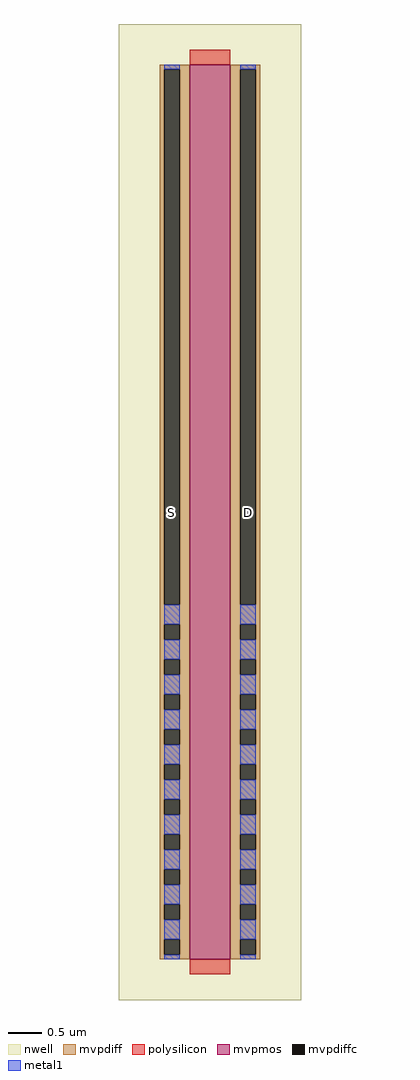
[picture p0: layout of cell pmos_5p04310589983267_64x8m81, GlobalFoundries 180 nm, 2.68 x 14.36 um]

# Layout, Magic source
magic
tech gf180mcuA
magscale 1 10
<< nwell >>
rect -208 -120 328 2752
<< mvpmos >>
rect 0 0 120 2632
<< mvpdiff >>
rect -88 2619 0 2632
rect -88 1043 -75 2619
rect -29 1043 0 2619
rect -88 986 0 1043
rect -88 940 -75 986
rect -29 940 0 986
rect -88 883 0 940
rect -88 837 -75 883
rect -29 837 0 883
rect -88 780 0 837
rect -88 734 -75 780
rect -29 734 0 780
rect -88 677 0 734
rect -88 631 -75 677
rect -29 631 0 677
rect -88 574 0 631
rect -88 528 -75 574
rect -29 528 0 574
rect -88 471 0 528
rect -88 425 -75 471
rect -29 425 0 471
rect -88 368 0 425
rect -88 322 -75 368
rect -29 322 0 368
rect -88 265 0 322
rect -88 219 -75 265
rect -29 219 0 265
rect -88 162 0 219
rect -88 116 -75 162
rect -29 116 0 162
rect -88 59 0 116
rect -88 13 -75 59
rect -29 13 0 59
rect -88 0 0 13
rect 120 2619 208 2632
rect 120 1043 149 2619
rect 195 1043 208 2619
rect 120 986 208 1043
rect 120 940 149 986
rect 195 940 208 986
rect 120 883 208 940
rect 120 837 149 883
rect 195 837 208 883
rect 120 780 208 837
rect 120 734 149 780
rect 195 734 208 780
rect 120 677 208 734
rect 120 631 149 677
rect 195 631 208 677
rect 120 574 208 631
rect 120 528 149 574
rect 195 528 208 574
rect 120 471 208 528
rect 120 425 149 471
rect 195 425 208 471
rect 120 368 208 425
rect 120 322 149 368
rect 195 322 208 368
rect 120 265 208 322
rect 120 219 149 265
rect 195 219 208 265
rect 120 162 208 219
rect 120 116 149 162
rect 195 116 208 162
rect 120 59 208 116
rect 120 13 149 59
rect 195 13 208 59
rect 120 0 208 13
<< mvpdiffc >>
rect -75 1043 -29 2619
rect -75 940 -29 986
rect -75 837 -29 883
rect -75 734 -29 780
rect -75 631 -29 677
rect -75 528 -29 574
rect -75 425 -29 471
rect -75 322 -29 368
rect -75 219 -29 265
rect -75 116 -29 162
rect -75 13 -29 59
rect 149 1043 195 2619
rect 149 940 195 986
rect 149 837 195 883
rect 149 734 195 780
rect 149 631 195 677
rect 149 528 195 574
rect 149 425 195 471
rect 149 322 195 368
rect 149 219 195 265
rect 149 116 195 162
rect 149 13 195 59
<< polysilicon >>
rect 0 2632 120 2676
rect 0 -44 120 0
<< metal1 >>
rect -75 2619 -29 2632
rect -75 986 -29 1043
rect -75 883 -29 940
rect -75 780 -29 837
rect -75 677 -29 734
rect -75 574 -29 631
rect -75 471 -29 528
rect -75 368 -29 425
rect -75 265 -29 322
rect -75 162 -29 219
rect -75 59 -29 116
rect -75 0 -29 13
rect 149 2619 195 2632
rect 149 986 195 1043
rect 149 883 195 940
rect 149 780 195 837
rect 149 677 195 734
rect 149 574 195 631
rect 149 471 195 528
rect 149 368 195 425
rect 149 265 195 322
rect 149 162 195 219
rect 149 59 195 116
rect 149 0 195 13
<< labels >>
flabel metal1 s -52 1316 -52 1316 0 FreeSans 400 0 0 0 S
flabel metal1 s 172 1316 172 1316 0 FreeSans 400 0 0 0 D
<< properties >>
string GDS_END 26094
string GDS_FILE $PDKPATH/libs.ref/gf180mcu_fd_ip_sram/gds/gf180mcu_fd_ip_sram__sram64x8m8wm1.gds
string GDS_START 21806
<< end >>
